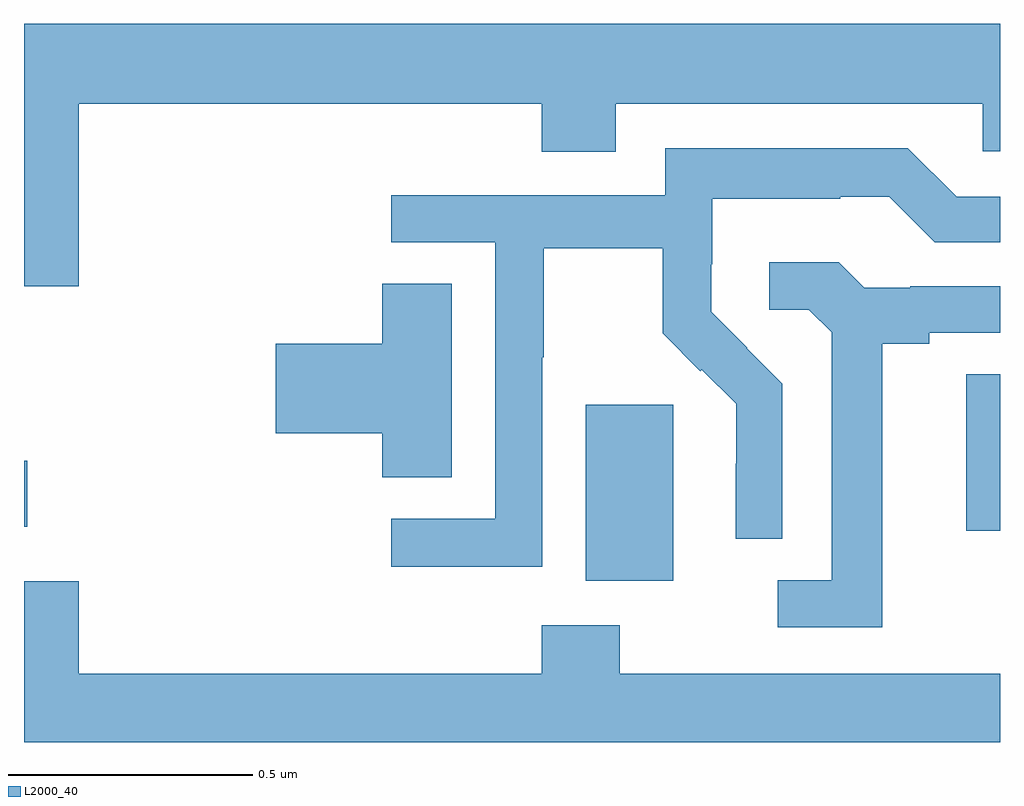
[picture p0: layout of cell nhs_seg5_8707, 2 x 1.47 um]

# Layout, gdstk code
import gdstk
lib = gdstk.Library(unit=1e-6, precision=1e-09)
def R(c, l, rs):  # rectangles x0, y0, x1, y1
    for r in rs: c.add(gdstk.rectangle(r[:2], r[2:], *l))
def P(c, l, *ps):  # polygons
    for p in ps: c.add(gdstk.Polygon(p, *l))
L2000_40 = (2000, 40)

nhs_seg5_8707 = lib.new_cell('nhs_seg5_8707')
R(nhs_seg5_8707, L2000_40, [(226.151,841.13,226.33,841.491), (226.931,841.233,227,841.553), (225,841.241,225.007,841.376)])
P(nhs_seg5_8707, L2000_40, [(225.112,842.108),(226.061,842.108),(226.061,842.009),(226.213,842.009),(226.213,842.108),(226.965,842.108),(226.965,842.01),(227,842.01),(227,842.272),(225,842.272),(225,841.734),(225.112,841.734)],
  [(226.062,841.588),(226.065,841.588),(226.065,841.812),(226.309,841.812),(226.309,841.637),(226.386,841.56),(226.389,841.563),(226.46,841.493),(226.46,841.37),(226.458,841.37),(226.458,841.216),(226.554,841.216),(226.554,841.534),(226.481,841.607),(226.482,841.608),(226.408,841.682),(226.408,841.779),(226.41,841.779),(226.41,841.913),(226.673,841.913),(226.673,841.917),(226.773,841.917),(226.866,841.824),(227,841.824),(227,841.917),(226.911,841.917),(226.811,842.017),(226.314,842.017),(226.314,841.92),(225.753,841.92),(225.753,841.824),(225.966,841.824),(225.966,841.257),(225.753,841.257),(225.753,841.159),(226.062,841.159)],
  [(226.759,841.616),(226.855,841.616),(226.855,841.638),(227,841.638),(227,841.734),(226.816,841.734),(226.816,841.731),(226.722,841.731),(226.67,841.783),(226.527,841.783),(226.527,841.686),(226.608,841.686),(226.655,841.639),(226.655,841.131),(226.545,841.131),(226.545,841.035),(226.759,841.035)],
  [(225.877,841.739),(225.734,841.739),(225.734,841.616),(225.516,841.616),(225.516,841.433),(225.734,841.433),(225.734,841.342),(225.877,841.342)],
  [(227,840.94),(226.221,840.94),(226.221,841.039),(226.061,841.039),(226.061,840.94),(225.112,840.94),(225.112,841.129),(225,841.129),(225,840.799),(227,840.799)])

lib.write_gds('nhs_seg5_8707.gds')
